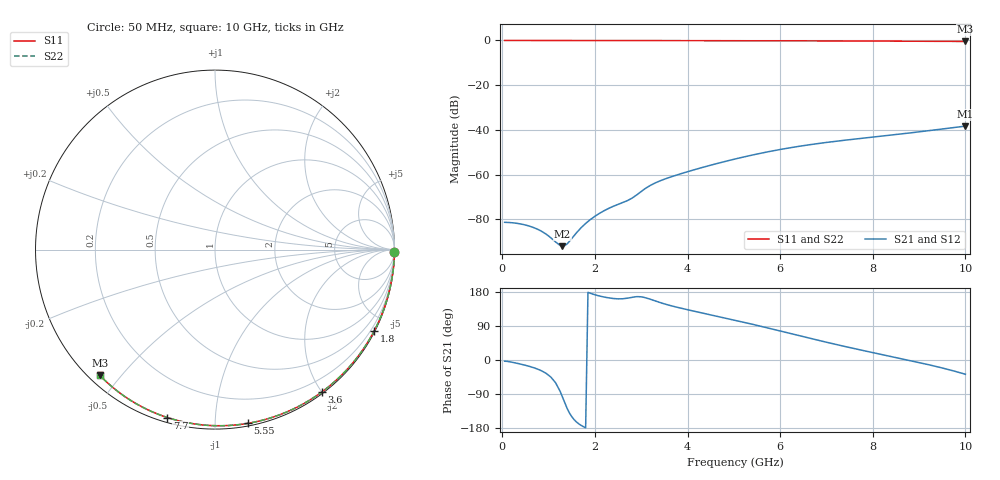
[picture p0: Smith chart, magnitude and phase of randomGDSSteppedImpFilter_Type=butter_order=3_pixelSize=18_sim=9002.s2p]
! freq	dB(S11)	phase(S11)	dB(S12)	phase(S12)
!  dB(S21)	phase(S21)	dB(S22)	phase(S22)
!S-par simulation data
#  GHz  S  DB  R 50
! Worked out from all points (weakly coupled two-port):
!   200 points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, 50 MHz to 10 GHz, reference 50 ohm
!   highest |S21| = -38.32 dB at 10 GHz (marker M1); lowest = -92.0 dB at 1.3 GHz (marker M2)
!   lowest |S11| = -0.4 dB at 10 GHz (marker M3), VSWR 39.03, Z = 1.53 - j22 ohm
!   |S11| at or under -10 dB: nowhere
!   |S22| runs from -0.4 to 0.0 dB; largest |S21 - S12| = 0
!   S11 on the Smith chart (normalised r, x): 50 MHz: open; 1.8 GHz: 0.04, -4.14; 3.6 GHz: 0.02, -2.00; 5.55 GHz: 0.02, -1.21; 7.7 GHz: 0.02, -0.76; 10 GHz: 0.03, -0.44
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0.05  -0.00 -0.8  -81.34 -3.2  -81.34 -3.2  -0.00 -0.8
0.65  -0.01 -9.9  -83.49 -19.2  -83.49 -19.2  -0.01 -9.9
1.3  -0.02 -19.7  -92.01 -97.9  -92.01 -97.9  -0.02 -19.7
1.75  -0.03 -26.4  -82.79 -175.9  -82.79 -175.9  -0.03 -26.4
1.8  -0.03 -27.1  -81.85 -178.9  -81.85 -178.9  -0.03 -27.1
1.9  -0.04 -28.6  -80.14 176.1  -80.14 176.1  -0.04 -28.6
2.1  -0.04 -31.6  -77.31 168.8  -77.31 168.8  -0.04 -31.6
2.25  -0.04 -33.8  -75.59 165.0  -75.59 165.0  -0.04 -33.8
2.7  -0.05 -40.3  -71.65 163.1  -71.65 163.1  -0.05 -40.3
2.8  -0.05 -41.7  -70.55 165.5  -70.55 165.5  -0.05 -41.7
3.15  -0.06 -46.7  -65.40 162.2  -65.40 162.2  -0.06 -46.7
3.4  -0.07 -50.3  -62.85 151.8  -62.85 151.8  -0.07 -50.3
3.6  -0.07 -53.1  -61.32 144.6  -61.32 144.6  -0.07 -53.1
4.3  -0.09 -62.7  -56.92 124.6  -56.92 124.6  -0.09 -62.7
5.05  -0.11 -72.7  -52.90 104.3  -52.90 104.3  -0.11 -72.7
5.55  -0.13 -79.3  -50.58 90.0  -50.58 90.0  -0.13 -79.3
6.1  -0.15 -86.3  -48.40 73.6  -48.40 73.6  -0.15 -86.3
6.7  -0.18 -93.7  -46.45 55.6  -46.45 55.6  -0.18 -93.7
7.7  -0.24 -105.8  -43.91 27.5  -43.91 27.5  -0.24 -105.8
8.35  -0.29 -113.5  -42.43 10.4  -42.43 10.4  -0.29 -113.5
9.15  -0.36 -122.7  -40.50 -10.8  -40.50 -10.8  -0.36 -122.7
10  -0.45 -132.5  -38.32 -37.6  -38.32 -37.6  -0.45 -132.5
